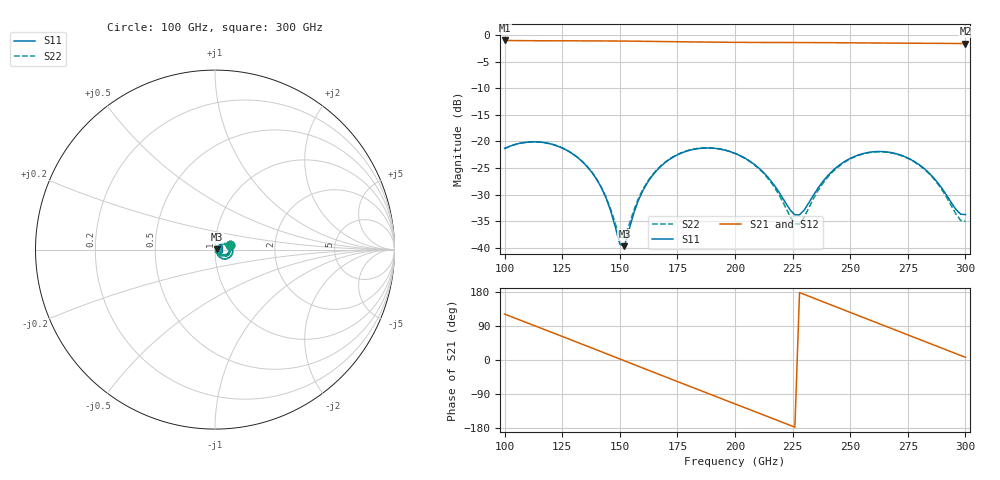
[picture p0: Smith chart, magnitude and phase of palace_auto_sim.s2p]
#  GHZ S DB R 50
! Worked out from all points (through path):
!   101 points, 100 GHz to 300 GHz, reference 50 ohm
!   highest |S21| = -0.99 dB at 100 GHz (marker M1); lowest = -1.6 dB at 300 GHz (marker M2)
!   group delay of S21, straight-line fit = 6.59 ps
!   lowest |S11| = -39.7 dB at 152 GHz (marker M3), VSWR 1.02, Z = 51 + j0.161 ohm
!   |S11| at or under -10 dB: start of sweep to end of sweep
!   |S22| runs from -38.1 to -20.1 dB; largest |S21 - S12| = 1.5e-13
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100  -21.32 17.8  -0.99 121.1  -0.99 121.1  -21.32 17.9
116  -20.14 -14.9  -1.05 83.5  -1.05 83.5  -20.14 -14.8
124  -21.03 -31.5  -1.06 64.6  -1.06 64.6  -21.03 -31.2
134  -23.90 -50.9  -1.07 40.8  -1.07 40.8  -23.88 -50.2
142  -28.71 -62.0  -1.08 21.8  -1.08 21.8  -28.62 -59.9
146  -33.00 -60.3  -1.09 12.2  -1.09 12.2  -32.71 -56.5
150  -39.32 -29.9  -1.11 2.7  -1.11 2.7  -37.95 -25.9
152  -39.70 8.8  -1.11 -2.1  -1.11 -2.1  -38.09 5.7
160  -29.27 46.4  -1.15 -21.2  -1.15 -21.2  -29.03 41.9
168  -24.60 36.2  -1.19 -40.2  -1.19 -40.2  -24.50 32.8
184  -21.34 6.6  -1.28 -78.1  -1.28 -78.1  -21.30 3.4
200  -22.24 -22.4  -1.34 -115.8  -1.34 -115.8  -22.25 -26.2
214  -26.58 -39.9  -1.37 -148.9  -1.37 -148.9  -26.79 -45.6
226  -33.81 -10.0  -1.38 -177.3  -1.38 -177.3  -35.48 -14.2
228  -33.81 5.2  -1.39 178.0  -1.39 178.0  -35.51 5.3
234  -30.15 32.5  -1.39 163.7  -1.39 163.7  -30.80 36.2
248  -23.66 25.3  -1.43 130.4  -1.43 130.4  -23.78 26.1
258  -22.05 8.2  -1.46 106.6  -1.46 106.6  -22.11 8.0
268  -22.11 -9.9  -1.49 82.9  -1.49 82.9  -22.16 -10.9
284  -25.85 -33.8  -1.53 45.0  -1.53 45.0  -25.95 -36.7
296  -32.85 -19.0  -1.56 16.5  -1.56 16.5  -33.73 -24.0
300  -33.75 7.6  -1.57 7.1  -1.57 7.1  -35.04 7.0
